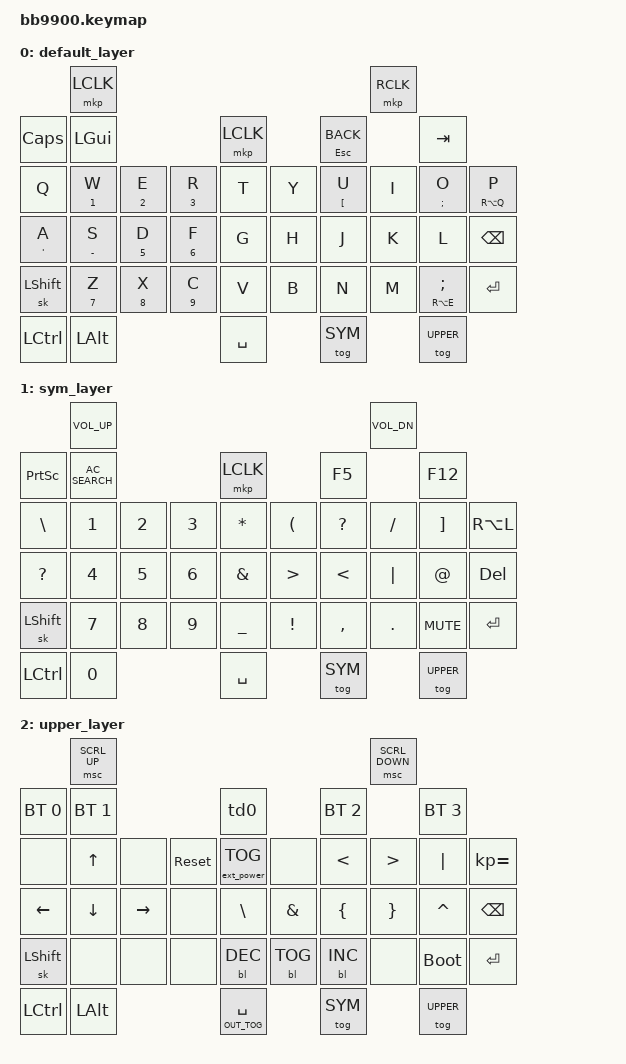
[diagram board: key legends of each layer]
/*
 * Copyright (c) 2023 ZitaoTech
 *
 * SPDX-License-Identifier: MIT
 */
   
#include <behaviors.dtsi>
#include <dt-bindings/zmk/keys.h>
#include <dt-bindings/zmk/bt.h>
#include <dt-bindings/zmk/outputs.h>
#include <dt-bindings/zmk/mouse.h>
#include <dt-bindings/zmk/backlight.h>
#include <dt-bindings/zmk/ext_power.h>


#define SYM 1
#define UPPER 2

/ {
    behaviors {
        td0: tap_dance_0 {
            compatible = "zmk,behavior-tap-dance";
            #binding-cells = <0>;
            tapping-term-ms = <400>;
            bindings = <&mkp LCLK>, <&bt BT_CLR>;
        };
    };
    behaviors {
        hm: homerow_mods {
            compatible = "zmk,behavior-hold-tap";
            #binding-cells = <2>;
            tapping-term-ms = <500>;
            bindings = <&out &kp>;
        };
    };
    behaviors {
        /omit-if-no-ref/ mt: mod_tap {
            compatible = "zmk,behavior-hold-tap";
            #binding-cells = <2>;
            flavor = "hold-preferred";
            tapping-term-ms = <600>;
            bindings = <&kp>, <&kp>;
        };
    };
    keymap {
        compatible = "zmk,keymap";

        default_layer {

            bindings = <
//         --------------------------------------------------------------------------------------------------------------------------         
//         |    Shoulder Key1    |                                                                             |    Shoulder Key2    |     
// |         Call key      |      Blackberry Key        |    Trackpad    |             Back Key                |             Endcall Key          |
// |     Q      |     W    |     E    |     R    |      T      |       Y        |       U        |        I        |       O      |      P        |     
// |     A      |     S    |     D    |     F    |      G      |       H        |       J        |        K        |       L      |      ←        |  
// |     alt    |     Z    |     X    |     C    |      V      |       B        |       N        |        M        |       $      |    Enter      |   
//        |         aA     |         0           |           SPACE              |         SYM         |        aA          |       
//        -----------------------------------------------------------------------------------------------------------------

                 &mkp LCLK                                                                                          &mkp RCLK
    &kp CLCK                &kp LGUI                            &mkp LCLK                          &mt ESC K_BACK                    &kp TAB
    &kp Q             &mt N1 W      &mt N2 E       &mt N3 R     &kp T         &kp Y             &mt LBKT U            &kp I            &mt SEMI O            &mt RA(Q) P
    &mt APOS A        &mt MINUS S   &mt N5 D       &mt N6 F     &kp G         &kp H             &kp J                 &kp K            &kp L                 &kp BSPC
    &sk LSHFT         &mt N7 Z      &mt N8 X       &mt N9 C     &kp V         &kp B             &kp N                 &kp M            &mt RA(E) SEMI        &kp ENTER
    &kp LCTRL               &kp LALT                            &kp SPACE                          &tog SYM                          &tog UPPER
            >;
        };


        sym_layer {

            bindings = <        
                 &kp C_VOL_UP                                                                                       &kp C_VOL_DN
    &kp PSCRN               &kp C_AC_SEARCH                     &mkp LCLK                          &kp F5                            &kp F12 
    &kp BSLH     &kp N1     &kp N2      &kp N3    &kp STAR      &kp LPAR          &kp QMARK        &kp SLASH        &kp RBKT        &kp RA(L)
    &kp QMARK    &kp N4     &kp N5      &kp N6    &kp AMPS      &kp GT            &kp LT           &kp PIPE         &kp AT           &kp DEL
    &sk LSHFT    &kp N7     &kp N8      &kp N9    &kp UNDER     &kp EXCL          &kp COMMA        &kp DOT          &kp C_MUTE       &kp ENTER
    &kp LCTRL               &kp N0                              &kp SPACE                          &tog SYM                          &tog UPPER
            >;
        };

        upper_layer {

            bindings = <
                 &msc SCRL_UP                                                                                       &msc SCRL_DOWN
    &bt BT_SEL 0            &bt BT_SEL 1                             &td0                           &bt BT_SEL 2                     &bt BT_SEL 3
    &none        &kp UP     &none       &sys_reset &ext_power EP_TOG &none         &kp LT           &kp GT          &kp PIPE         &kp KP_EQUAL
    &kp LEFT     &kp DOWN   &kp RIGHT   &none      &kp BSLH          &kp AMPS      &kp LBRC         &kp RBRC        &kp CARET        &kp BSPC
    &sk LSHFT    &none      &none       &none      &bl BL_DEC        &bl BL_TOG    &bl BL_INC       &none           &bootloader      &kp ENTER
    &kp LCTRL               &kp LALT                                 &hm OUT_TOG SPACE              &tog SYM                         &tog UPPER
            >;
        };
    };
};

